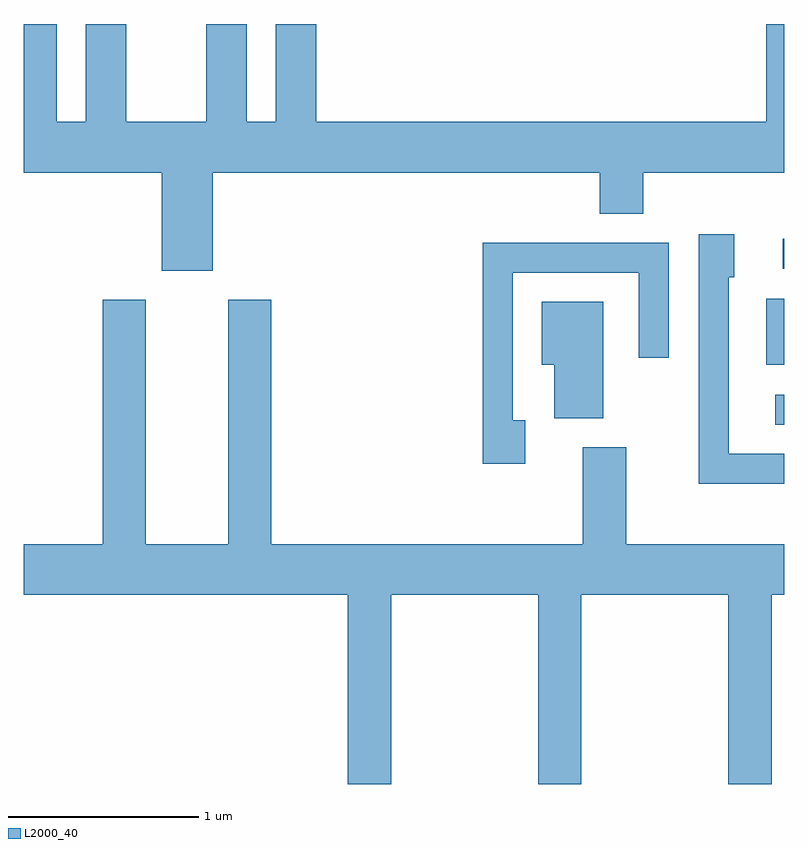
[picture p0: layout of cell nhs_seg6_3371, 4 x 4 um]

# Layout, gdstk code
import gdstk
lib = gdstk.Library(unit=1e-6, precision=1e-09)
def R(c, l, rs):  # rectangles x0, y0, x1, y1
    for r in rs: c.add(gdstk.rectangle(r[:2], r[2:], *l))
def P(c, l, *ps):  # polygons
    for p in ps: c.add(gdstk.Polygon(p, *l))
L2000_40 = (2000, 40)

nhs_seg6_3371 = lib.new_cell('nhs_seg6_3371')
R(nhs_seg6_3371, L2000_40, [(291.563,1542.051,291.611,1542.209), (291.516,1542.366,291.611,1542.714), (291.603,1542.871,291.611,1543.029)])
P(nhs_seg6_3371, L2000_40, [(288.604,1543.376),(290.641,1543.376),(290.641,1543.161),(290.869,1543.161),(290.869,1543.376),(291.611,1543.376),(291.611,1544.159),(291.516,1544.159),(291.516,1543.644),(289.149,1543.644),(289.149,1544.159),(288.936,1544.159),(288.936,1543.644),(288.784,1543.644),(288.784,1544.159),(288.571,1544.159),(288.571,1543.644),(288.149,1543.644),(288.149,1544.159),(287.936,1544.159),(287.936,1543.644),(287.784,1543.644),(287.784,1544.159),(287.611,1544.159),(287.611,1543.376),(288.336,1543.376),(288.336,1542.861),(288.604,1542.861)],
  [(291.611,1541.899),(291.319,1541.899),(291.319,1542.826),(291.349,1542.826),(291.349,1543.054),(291.161,1543.054),(291.161,1541.741),(291.611,1541.741)],
  [(290.249,1542.074),(290.184,1542.074),(290.184,1542.851),(290.846,1542.851),(290.846,1542.403),(291.004,1542.403),(291.004,1543.009),(290.026,1543.009),(290.026,1541.846),(290.249,1541.846)],
  [(289.544,1541.156),(290.316,1541.156),(290.316,1540.162),(290.544,1540.162),(290.544,1541.156),(291.316,1541.156),(291.316,1540.162),(291.544,1540.162),(291.544,1541.156),(291.611,1541.156),(291.611,1541.424),(290.779,1541.424),(290.779,1541.934),(290.551,1541.934),(290.551,1541.424),(288.914,1541.424),(288.914,1542.709),(288.686,1542.709),(288.686,1541.424),(288.254,1541.424),(288.254,1542.709),(288.026,1542.709),(288.026,1541.424),(287.611,1541.424),(287.611,1541.156),(289.316,1541.156),(289.316,1540.162),(289.544,1540.162)],
  [(290.659,1542.699),(290.336,1542.699),(290.336,1542.366),(290.401,1542.366),(290.401,1542.086),(290.659,1542.086)])

lib.write_gds('nhs_seg6_3371.gds')
